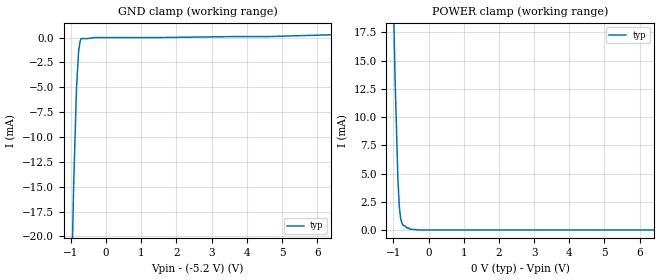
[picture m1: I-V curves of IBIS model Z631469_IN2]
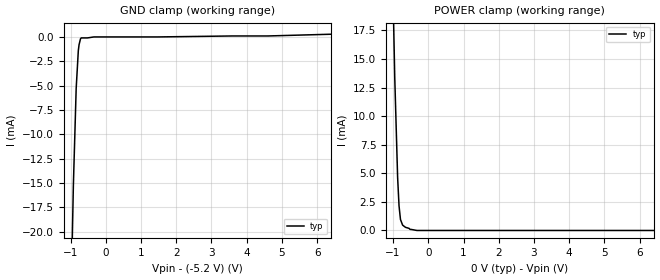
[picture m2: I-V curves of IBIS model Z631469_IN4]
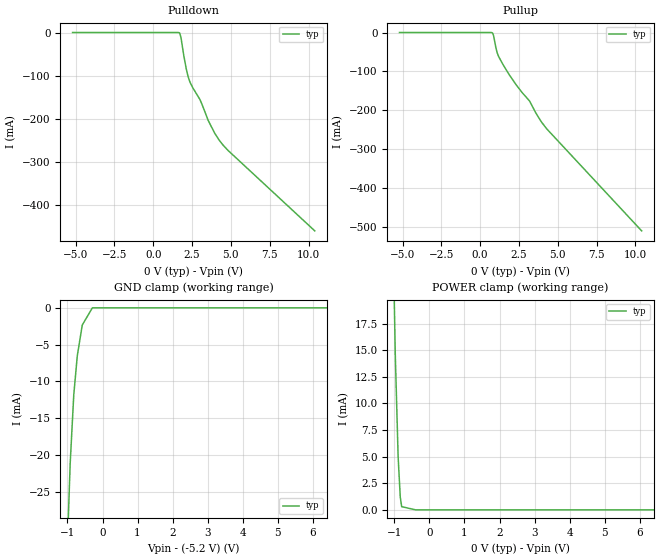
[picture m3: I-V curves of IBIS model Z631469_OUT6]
| YOU ARE ONLY AUTHORIZED TO USE THIS SOFTWARE
| ACCORDING TO LICENSOR'S LICENSE RESTRICTIONS.
[IBIS Ver] 3.1
[File Name] mc10ep58d_-52.ibs
[File Rev] 2.0
[Source] Measured and created by ICX Technology
[Date] Wednesday 11/22/00 2:13:51 PM
[Copyright]
| (C) COPYRIGHT 1993-2000
| MENTOR GRAPHICS CORPORATION
| ICX STANDARD LIBRARY, ICX PROJECT MODELING,
| ICX CUSTOM MODELING, ICX VENDOR MODEL
| ALL RIGHTS RESERVED.
| THE FOLLOWING ARE TRADEMARKS OR SERVICE MARKS OF
| MENTOR GRAPHICS CORPORATION:ICX (R), ICX STANDARD
| LIBRARY(R), ICX PROJECT MODELING(R), ICX CUSTOM
| MODELING(R), qualityIBIS(TM), MODELVIEWER(TM),
| AND MODELEDITOR(TM)
| ALL COPIES OF SOFTWARE, INCLUDING BUT NOT LIMITED TO
| ANY MODIFICATIONS, ENHANCEMENTS OR DERIVATIVE WORKS,
| MUST CONTAIN ALL MENTOR GRAPHICS CORPORATION'S
| NOTICES AND LEGENDS, INCLUDING THOSE EMBEDDED IN
| SOFTWARE AND THOSE AFFIXED TO SOFTWARE MEDIUM
| AND CONTAINER, AS RECEIVED FROM MENTOR GRAPHICS
| CORPORATION.
|  ZAP Model Builder 2.8
[Component] MC10EP58D_-52
[Manufacturer] OnSemiconductor
[Package]
| variable   typ   min   max
R_pkg  .152ohms NA NA
L_pkg  2.714nH NA NA
C_pkg  .364pF NA NA
[Pin] signal_name  model_name  R_pin  L_pin C_pin
1 NC NC .154 2.924n .374p
2 DA Z631469_IN2 .15 2.504n .354p
3 DB Z631469_IN2 .15 2.504n .354p
4 SEL Z631469_IN4 .154 2.924n .374p
5 VEE POWER .154 2.924n .374p
6 _Q Z631469_OUT6 .15 2.504n .354p
7 Q Z631469_OUT6 .15 2.504n .354p
8 VCC GND .154 2.924n .374p
[Diff Pin] inv_pin vdiff tdelay_typ tdelay_min tdelay_max
7 6 NA .005ns NA .02ns
| Models and submodels in the file (3): Z631469_IN2 (Input_ECL), Z631469_IN4 (Input_ECL), Z631469_OUT6 (Output_ECL)
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| (C) COPYRIGHT 1993-2000
| MENTOR GRAPHICS CORPORATION
| ICX STANDARD LIBRARY, ICX PROJECT MODELING,
| ICX CUSTOM MODELING, ICX VENDOR MODEL
| ALL RIGHTS RESERVED.
| THE FOLLOWING ARE TRADEMARKS OR SERVICE MARKS OF
| MENTOR GRAPHICS CORPORATION:ICX (R), ICX STANDARD
| LIBRARY(R), ICX PROJECT MODELING(R), ICX CUSTOM
| MODELING(R), qualityIBIS(TM), MODELVIEWER(TM),
| AND MODELEDITOR(TM)
| ALL COPIES OF SOFTWARE, INCLUDING BUT NOT LIMITED TO
| ANY MODIFICATIONS, ENHANCEMENTS OR DERIVATIVE WORKS,
| MUST CONTAIN ALL MENTOR GRAPHICS CORPORATION'S
| NOTICES AND LEGENDS, INCLUDING THOSE EMBEDDED IN
| SOFTWARE AND THOSE AFFIXED TO SOFTWARE MEDIUM
| AND CONTAINER, AS RECEIVED FROM MENTOR GRAPHICS
| CORPORATION.
| Model Application Version 1.89 2/18/99.
[Model] Z631469_IN2
Model_type Input_ECL
Vinl = -1.545V
Vinh = -1.145V
C_comp 3.000pF NA NA
| variable typ   min   max
[Voltage Range] -5.200V NA NA
[GND Clamp Reference] -5.200V NA NA
[POWER Clamp Reference] 0.000V NA NA
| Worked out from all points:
|   GND clamp passes 1 mA (typ) near -0.76 V on its own axis
|   POWER clamp passes 1 mA (typ) near -0.79 V on its own axis
[GND Clamp]
-5.2V     -740.2mA   NA         NA
-921mV    -14.9mA    NA         NA
-841mV    -5.2mA     NA         NA
-780mV    -1.4mA     NA         NA
-739mV    -400uA     NA         NA
-708.8mV  -100uA     NA         NA
-524mV    -100uA     NA         NA
-339.2mV  0A         NA         NA
1.471V    0A         NA         NA
3.599V    100uA      NA         NA
4.602V    100uA      NA         NA
10.4V     678.1uA    NA         NA
[POWER Clamp]
-5.2V     833.2mA    NA         NA
-1.034V   26.34mA    NA         NA
-953mV    13.55mA    NA         NA
-871mV    4.554mA    NA         NA
-831mV    2.058mA    NA         NA
-790mV    961.6uA    NA         NA
-750mV    565.6uA    NA         NA
-709.5mV  373.7uA    NA         NA
-669mV    373.7uA    NA         NA
-547mV    85.84uA    NA         NA
-273.5mV  0A         NA         NA
10.4V     0A         NA         NA
| (C) COPYRIGHT 1993-2000
| MENTOR GRAPHICS CORPORATION
| ICX STANDARD LIBRARY, ICX PROJECT MODELING,
| ICX CUSTOM MODELING, ICX VENDOR MODEL
| ALL RIGHTS RESERVED.
| THE FOLLOWING ARE TRADEMARKS OR SERVICE MARKS OF
| MENTOR GRAPHICS CORPORATION:ICX (R), ICX STANDARD
| LIBRARY(R), ICX PROJECT MODELING(R), ICX CUSTOM
| MODELING(R), qualityIBIS(TM), MODELVIEWER(TM),
| AND MODELEDITOR(TM)
| ALL COPIES OF SOFTWARE, INCLUDING BUT NOT LIMITED TO
| ANY MODIFICATIONS, ENHANCEMENTS OR DERIVATIVE WORKS,
| MUST CONTAIN ALL MENTOR GRAPHICS CORPORATION'S
| NOTICES AND LEGENDS, INCLUDING THOSE EMBEDDED IN
| SOFTWARE AND THOSE AFFIXED TO SOFTWARE MEDIUM
| AND CONTAINER, AS RECEIVED FROM MENTOR GRAPHICS
| CORPORATION.
| Model Application Version 1.89 2/18/99.
[Model] Z631469_IN4
Model_type Input_ECL
Vinl = -1.545V
Vinh = -1.145V
C_comp 3.000pF NA NA
| variable typ   min   max
[Voltage Range] -5.200V NA NA
[GND Clamp Reference] -5.200V NA NA
[POWER Clamp Reference] 0.000V NA NA
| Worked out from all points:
|   GND clamp passes 1 mA (typ) near -0.77 V on its own axis
|   POWER clamp passes 1 mA (typ) near -0.79 V on its own axis
[GND Clamp]
-5.2V     -777.2mA   NA         NA
-921mV    -15.3mA    NA         NA
-841mV    -5.3mA     NA         NA
-780mV    -1.4mA     NA         NA
-759mV    -800uA     NA         NA
-719mV    -200uA     NA         NA
-698.8mV  -100uA     NA         NA
-339.2mV  0A         NA         NA
4.602V    100uA      NA         NA
10.4V     678.1uA    NA         NA
[POWER Clamp]
-5.2V     793.7mA    NA         NA
-1.034V   25.64mA    NA         NA
-953mV    13.45mA    NA         NA
-871mV    4.654mA    NA         NA
-831mV    2.158mA    NA         NA
-790mV    961.6uA    NA         NA
-729mV    467.7uA    NA         NA
-516.5mV  91.92uA    NA         NA
-324mV    0A         NA         NA
10.4V     0A         NA         NA
| (C) COPYRIGHT 1993-2000
| MENTOR GRAPHICS CORPORATION
| ICX STANDARD LIBRARY, ICX PROJECT MODELING,
| ICX CUSTOM MODELING, ICX VENDOR MODEL
| ALL RIGHTS RESERVED.
| THE FOLLOWING ARE TRADEMARKS OR SERVICE MARKS OF
| MENTOR GRAPHICS CORPORATION:ICX (R), ICX STANDARD
| LIBRARY(R), ICX PROJECT MODELING(R), ICX CUSTOM
| MODELING(R), qualityIBIS(TM), MODELVIEWER(TM),
| AND MODELEDITOR(TM)
| ALL COPIES OF SOFTWARE, INCLUDING BUT NOT LIMITED TO
| ANY MODIFICATIONS, ENHANCEMENTS OR DERIVATIVE WORKS,
| MUST CONTAIN ALL MENTOR GRAPHICS CORPORATION'S
| NOTICES AND LEGENDS, INCLUDING THOSE EMBEDDED IN
| SOFTWARE AND THOSE AFFIXED TO SOFTWARE MEDIUM
| AND CONTAINER, AS RECEIVED FROM MENTOR GRAPHICS
| CORPORATION.
| Model Application Version 1.89 2/18/99.
[Model] Z631469_OUT6
Model_type Output_ECL
Vref=-2.000V
Rref=50.00ohms
Cref=0.000F
Vmeas=-1.345V
C_comp 8.000pF NA NA
| variable typ   min   max
[Voltage Range] -5.200V NA NA
[POWER Clamp Reference] 0.000V NA NA
[Pullup Reference] 0.000V NA NA
[Pulldown Reference] 0.000V NA NA
[GND Clamp Reference] -5.200V NA NA
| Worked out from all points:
|   POWER clamp passes 1 mA (typ) near -0.82 V on its own axis
[GND Clamp]
-5.2V     -617.9mA   NA         NA
-922mV    -21.13mA   NA         NA
-820mV    -11.83mA   NA         NA
-719mV    -6.5mA     NA         NA
-577mV    -2.333mA   NA         NA
-288.5mV  0A         NA         NA
10.4V     0A         NA         NA
[Pulldown]
-5.2V     0A         NA         NA
1.703V    -1.6mA     NA         NA
1.784V    -11.8mA    NA         NA
1.966V    -53.9mA    NA         NA
2.128V    -85.1mA    NA         NA
2.25V     -103.2mA   NA         NA
2.371V    -115.7mA   NA         NA
3V        -154.9mA   NA         NA
3.547V    -204.5mA   NA         NA
4.236V    -248.9mA   NA         NA
4.824V    -273.4mA   NA         NA
10.4V     -459.3mA   NA         NA
[Pullup]
-5.2V     0A         NA         NA
791mV     -1.2mA     NA         NA
872mV     -9.8mA     NA         NA
1.014V    -39.1mA    NA         NA
1.095V    -52.1mA    NA         NA
1.48V     -82.9mA    NA         NA
2.351V    -136mA     NA         NA
3.183V    -175.8mA   NA         NA
3.588V    -206.6mA   NA         NA
3.932V    -228.7mA   NA         NA
4.277V    -246.7mA   NA         NA
10.4V     -508.8mA   NA         NA
[POWER Clamp]
-5.2V     755.7mA    NA         NA
-973mV    14.6mA     NA         NA
-892mV    5mA        NA         NA
-831mV    1.2mA      NA         NA
-791mV    300uA      NA         NA
-395.5mV  0A         NA         NA
10.4V     0A         NA         NA
[Ramp]
| variable typ min max
dV/dt_r 482.6m/97.21p NA NA
dV/dt_f 482.6m/91.89p NA NA
R_load = 50.00Ohms
